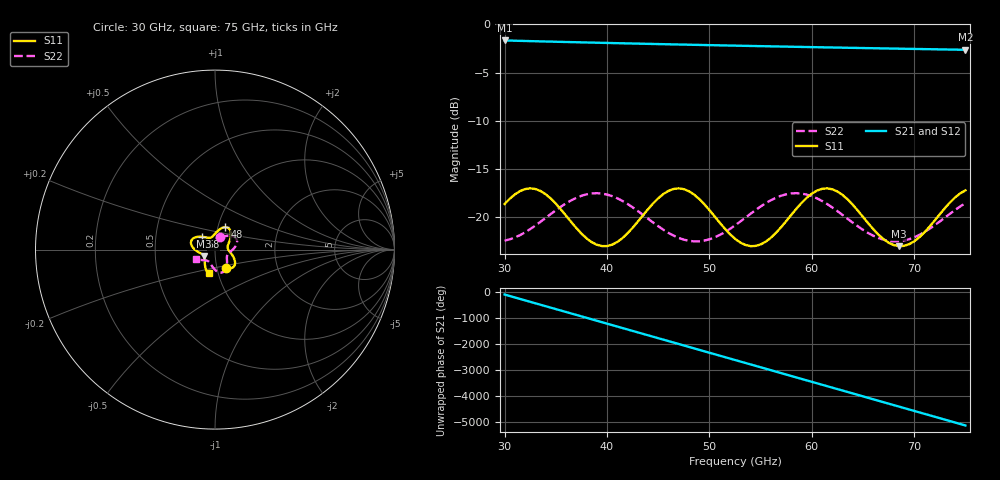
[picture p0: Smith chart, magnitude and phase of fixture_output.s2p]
! CurveTracer example fixture: Output fixture (probe + cable)
! Synthetic data (lossy line): port 1 = DUT side, port 2 = instrument side
! freq  S11(dB, deg)  S21(dB, deg)  S12(dB, deg)  S22(dB, deg)
# GHz S DB R 50
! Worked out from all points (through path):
!   91 points, 30 GHz to 75 GHz, reference 50 ohm
!   highest |S21| = -1.67 dB at 30 GHz (marker M1); lowest = -2.6 dB at 75 GHz (marker M2)
!   lowest |S11| = -23.0 dB at 68.5 GHz (marker M3), VSWR 1.15, Z = 44.1 - j3.09 ohm
!   |S11| at or under -10 dB: start of sweep to end of sweep
!   |S22| runs from -22.5 to -17.5 dB; largest |S21 - S12| = 0
!   S11 on the Smith chart (normalised r, x): 30 GHz: 1.10, -0.23; 48 GHz: 1.08, +0.27; 58 GHz: 0.85, +0.12; 75 GHz: 0.90, -0.24
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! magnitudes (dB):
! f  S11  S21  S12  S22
! 30 GHz  -18.6  -1.7  -1.7  -22.4
! 31.5 GHz  -17.3  -1.7  -1.7  -21.9
! 33 GHz  -17.1  -1.7  -1.7  -20.9
! 34.5 GHz  -18.0  -1.8  -1.8  -19.7
! 37.5 GHz  -21.7  -1.9  -1.9  -17.8
! 39 GHz  -22.8  -1.9  -1.9  -17.5
! 40.5 GHz  -22.8  -1.9  -1.9  -17.8
! 42 GHz  -21.7  -2.0  -2.0  -18.6
! 45 GHz  -18.0  -2.0  -2.0  -20.9
! 46.5 GHz  -17.1  -2.1  -2.1  -21.9
! 48 GHz  -17.3  -2.1  -2.1  -22.4
! 50 GHz  -19.3  -2.2  -2.2  -22.3
! 52.5 GHz  -22.2  -2.2  -2.2  -20.8
! 55 GHz  -22.8  -2.3  -2.3  -18.9
! 58 GHz  -19.7  -2.3  -2.3  -17.5
! 60 GHz  -17.6  -2.4  -2.4  -17.8
! 62.5 GHz  -17.3  -2.4  -2.4  -19.4
! 65.5 GHz  -20.6  -2.5  -2.5  -21.6
! 67.5 GHz  -22.6  -2.5  -2.5  -22.4
! 68.5 GHz  -23.0  -2.5  -2.5  -22.5
! 70.5 GHz  -22.1  -2.6  -2.6  -21.8
! 75 GHz  -17.2  -2.6  -2.6  -18.5
